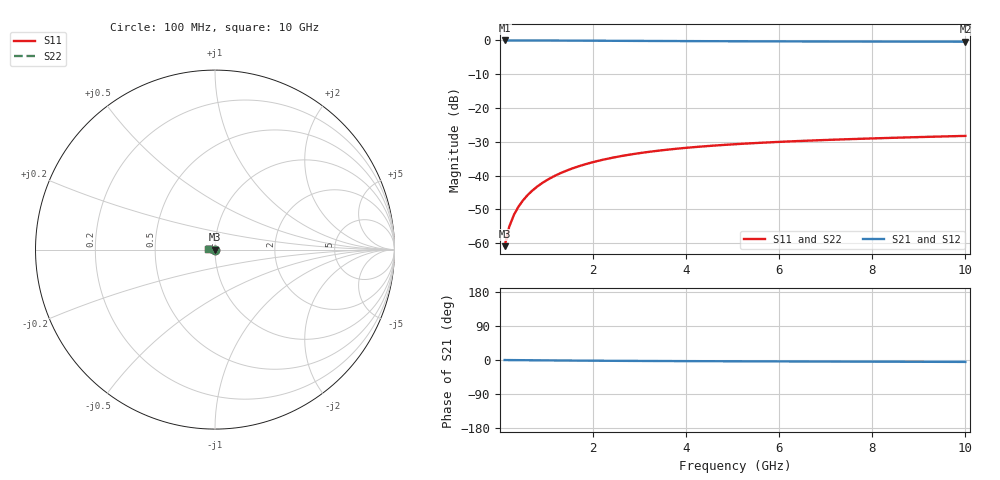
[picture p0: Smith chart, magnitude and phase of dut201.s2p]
! Touchstone file exported from HFSS 2024.1.0
!  File:  C:/UserFiles/LocalFiles/RDL_TSV_Batchsim/temp_TSV1_201_1779385891.aedt
!  Generated:  01:58:02 AM May 22, 2026
!  Design:  TSV1
!  Project:  temp_TSV1_201_1779385891
!  Setup:  Setup1
!  Solution:  Sweep
! Variables:
!  dtsv = 7.25um
!  hbump = 3um
!  htsv = 78.6um
!  lrdl = 252.1521522um
!  p = 40
!  p1 = 42.14um
!  t = 500um
!  trdl = 3um
!  wrdl = 24.89489489um
# GHz S MA R 50.000000
! Terminal data exported
! Port[1] = TSV22_T1
! Port[2] = TSV22_T2
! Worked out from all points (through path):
!   100 points, 100 MHz to 10 GHz, reference 50 ohm
!   highest |S21| = 0.00 dB at 100 MHz (marker M1); lowest = -0.4 dB at 10 GHz (marker M2)
!   lowest |S11| = -60.9 dB at 100 MHz (marker M3), VSWR 1.00, Z = 50 - j0.0867 ohm
!   |S11| at or under -10 dB: start of sweep to end of sweep
!   |S22| runs from -60.9 to -28.3 dB; largest |S21 - S12| = 3.1e-15
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0.1  0.0009015 -74.1  0.9997 -0.1  0.9997 -0.1  0.0009015 -74.1
! Gamma 0 0 0 0
! Port Impedance 50 0 50 0
0.2  0.001758 -84.3  0.9996 -0.2  0.9996 -0.2  0.001758 -84.3
0.3  0.002622 -89.0  0.9995 -0.3  0.9995 -0.3  0.002622 -89.0
0.4  0.003483 -92.2  0.9993 -0.4  0.9993 -0.4  0.003483 -92.2
0.5  0.00434 -94.8  0.999 -0.5  0.999 -0.5  0.00434 -94.8
0.6  0.005191 -97.1  0.9988 -0.6  0.9988 -0.6  0.005191 -97.1
0.7  0.006033 -99.2  0.9984 -0.7  0.9984 -0.7  0.006033 -99.2
0.8  0.006866 -101.1  0.9981 -0.8  0.9981 -0.8  0.006866 -101.1
0.9  0.007688 -103.0  0.9976 -0.9  0.9976 -0.9  0.007688 -103.0
1.1  0.009296 -106.6  0.9967 -1.1  0.9967 -1.1  0.009296 -106.6
1.4  0.01161 -111.7  0.9951 -1.4  0.9951 -1.4  0.01161 -111.7
1.6  0.01307 -114.9  0.9938 -1.5  0.9938 -1.5  0.01307 -114.9
1.8  0.01447 -118.0  0.9925 -1.7  0.9925 -1.7  0.01447 -118.0
2.1  0.01644 -122.5  0.9905 -1.9  0.9905 -1.9  0.01644 -122.5
2.5  0.01884 -128.0  0.9877 -2.2  0.9877 -2.2  0.01884 -128.0
2.9  0.02098 -133.2  0.9849 -2.4  0.9849 -2.4  0.02098 -133.2
3.4  0.02333 -139.1  0.9815 -2.7  0.9815 -2.7  0.02333 -139.1
4.2  0.02645 -147.6  0.9767 -3.1  0.9767 -3.1  0.02645 -147.6
5.1  0.02925 -155.9  0.9722 -3.4  0.9722 -3.4  0.02925 -155.9
6.7  0.03303 -168.0  0.9661 -4.0  0.9661 -4.0  0.03303 -168.0
8.4  0.03614 -178.4  0.9617 -4.5  0.9617 -4.5  0.03614 -178.4
10  0.03866 173.3  0.9588 -5.0  0.9588 -5.0  0.03866 173.3
